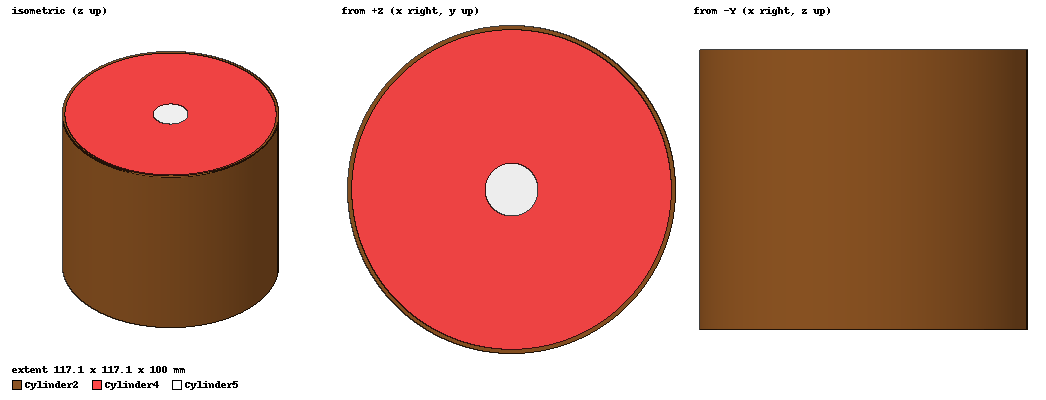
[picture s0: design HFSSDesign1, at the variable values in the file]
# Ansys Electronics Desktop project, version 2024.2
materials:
  vacuum: permittivity=1
  skin: permittivity=38.1 conductivity=1.44 dielectric_loss_tangent=0.2830725
  msucle: permittivity=52.8 conductivity=1.71 dielectric_loss_tangent=0.24256177
  bone(cortical): permittivity=11.4 conductivity=0.788 dielectric_loss_tangent=0.51770401

design HFSSDesign1 (HFSS, HFSS Terminal Network, model units mm)
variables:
  bonerad = (18.84/2) mm
  armrad = 58.569019mm
  skinthick = 1.5mm
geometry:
  Cylinder1 = cylinder(axis=Z, base_centre=(0mm, 0mm, 0mm), radius=bonerad, height=100mm)
  Cylinder2 [skin] = cylinder(axis=Z, base_centre=(0mm, 0mm, 0mm), radius=armrad, height=100mm)
  Cylinder3 = cylinder(axis=Z, base_centre=(0mm, 0mm, 0mm), radius=armrad-skinthick, height=100mm)
  Cylinder2.subtract(Cylinder3)
  Cylinder4 [msucle] = cylinder(axis=Z, base_centre=(0mm, 0mm, 0mm), radius=armrad-skinthick, height=100mm)
  Cylinder4.subtract(Cylinder1)
  Cylinder5 [bone(cortical)] = cylinder(axis=Z, base_centre=(0mm, 0mm, 0mm), radius=bonerad, height=100mm)
